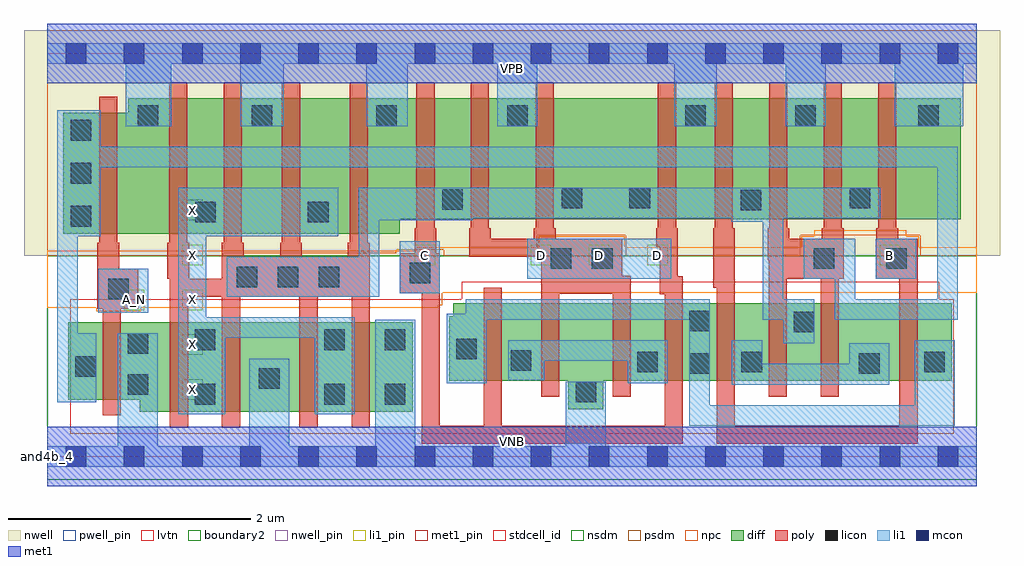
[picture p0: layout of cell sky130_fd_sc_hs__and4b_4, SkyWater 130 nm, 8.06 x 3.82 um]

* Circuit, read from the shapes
.subckt sky130_fd_sc_hs__and4b_4 A_N B C D VGND VNB VPB VPWR X
XM1 VGND A_N n1 VNB sky130_fd_pr__nfet_01v8_lvt w=0.64 l=0.15
XM2 X n2 VGND VNB sky130_fd_pr__nfet_01v8_lvt w=0.74 l=0.15 m=4
XM3 n3 C n4 VNB sky130_fd_pr__nfet_01v8_lvt w=0.64 l=0.15 m=2
XM4 VGND D n3 VNB sky130_fd_pr__nfet_01v8_lvt w=0.64 l=0.15 m=2
XM5 n5 B n4 VNB sky130_fd_pr__nfet_01v8_lvt w=0.64 l=0.15 m=2
XM6 n2 n1 n5 VNB sky130_fd_pr__nfet_01v8_lvt w=0.64 l=0.15 m=2
XM7 VPWR A_N n1 VPB sky130_fd_pr__pfet_01v8 w=1 l=0.15
XM8 X n2 VPWR VPB sky130_fd_pr__pfet_01v8 w=1.12 l=0.15 m=4
XM9 n2 C VPWR VPB sky130_fd_pr__pfet_01v8 w=1 l=0.15 m=2
XM10 VPWR D n2 VPB sky130_fd_pr__pfet_01v8 w=1 l=0.15 m=2
XM11 n2 B VPWR VPB sky130_fd_pr__pfet_01v8 w=1 l=0.15 m=2
XM12 VPWR n1 n2 VPB sky130_fd_pr__pfet_01v8 w=1 l=0.15 m=2
.ends

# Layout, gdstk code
import gdstk
lib = gdstk.Library(unit=1e-6, precision=1e-09)
def R(c, l, rs):  # rectangles x0, y0, x1, y1
    for r in rs: c.add(gdstk.rectangle(r[:2], r[2:], *l))
def A(c, l, x, y, w, h, nx, ny, dx, dy):  # array of equal rectangles
    R(c, l, [(x+i*dx, y+j*dy, x+i*dx+w, y+j*dy+h) for i in range(nx) for j in range(ny)])
def P(c, l, *ps):  # polygons
    for p in ps: c.add(gdstk.Polygon(p, *l))
nwell_pin = (64, 16)
nwell = (64, 20)
diff = (65, 20)
poly = (66, 20)
licon = (66, 44)
li1_pin = (67, 16)
li1 = (67, 20)
mcon = (67, 44)
met1_pin = (68, 16)
met1 = (68, 20)
stdcell_id = (81, 4)
nsdm = (93, 44)
psdm = (94, 20)
npc = (95, 20)
pwell_pin = (122, 16)
lvtn = (125, 44)
boundary2 = (236, 0)

sky130_fd_sc_hs__and4b_4 = lib.new_cell('sky130_fd_sc_hs__and4b_4')
R(sky130_fd_sc_hs__and4b_4, nwell_pin, [(0,3.085,7.68,3.33)])
R(sky130_fd_sc_hs__and4b_4, nwell, [(-0.19,1.66,7.87,3.52)])
P(sky130_fd_sc_hs__and4b_4, diff, [(3.02,1.11),(0.175,1.11),(0.175,0.47),(0.765,0.47),(0.765,0.37),(3.02,0.37)],
  [(7.545,2.96),(0.67,2.96),(0.67,2.84),(0.135,2.84),(0.135,1.84),(2.915,1.84),(2.915,1.96),(7.545,1.96)],
  [(7.47,1.265),(3.355,1.265),(3.355,1.16),(3.32,1.16),(3.32,0.625),(4.305,0.625),(4.305,0.39),(4.595,0.39),(4.595,0.625),(7.47,0.625)])
P(sky130_fd_sc_hs__and4b_4, poly, [(0.755,1.55),(0.595,1.55),(0.595,1.765),(0.58,1.765),(0.58,2.97),(0.43,2.97),(0.43,1.765),(0.415,1.765),(0.415,1.22),(0.46,1.22),(0.46,0.34),(0.61,0.34),(0.61,1.22),(0.755,1.22)],
  [(2.665,1.765),(2.65,1.765),(2.65,3.09),(2.5,3.09),(2.5,1.765),(2.485,1.765),(2.485,1.65),(2.105,1.65),(2.105,1.765),(2.09,1.765),(2.09,3.09),(1.94,3.09),(1.94,1.765),(1.925,1.765),(1.925,1.65),(1.625,1.65),(1.625,1.765),(1.61,1.765),(1.61,3.09),(1.46,3.09),(1.46,1.765),(1.445,1.765),(1.445,1.47),(1.175,1.47),(1.175,1.765),(1.16,1.765),(1.16,3.09),(1.01,3.09),(1.01,1.765),(0.995,1.765),(0.995,1.47),(1.015,1.47),(1.015,0.24),(1.165,0.24),(1.165,1.32),(1.445,1.32),(1.445,0.24),(1.595,0.24),(1.595,1.32),(2.085,1.32),(2.085,0.24),(2.235,0.24),(2.235,1.32),(2.515,1.32),(2.515,0.24),(2.665,0.24)],
  [(7.19,1.8),(7.03,1.8),(7.03,1.885),(7.015,1.885),(7.015,3.09),(6.865,3.09),(6.865,1.885),(6.85,1.885),(6.85,1.47),(7.04,1.47),(7.04,0.255),(5.68,0.255),(5.68,1.885),(5.665,1.885),(5.665,3.09),(5.515,3.09),(5.515,1.885),(5.5,1.885),(5.5,1.395),(5.53,1.395),(5.53,0.105),(7.19,0.105)],
  [(6.58,1.885),(6.565,1.885),(6.565,3.09),(6.415,3.09),(6.415,1.885),(6.4,1.885),(6.4,1.8),(6.13,1.8),(6.13,1.885),(6.115,1.885),(6.115,3.09),(5.965,3.09),(5.965,1.885),(5.95,1.885),(5.95,1.62),(5.96,1.62),(5.96,0.495),(6.11,0.495),(6.11,1.47),(6.39,1.47),(6.39,0.495),(6.54,0.495),(6.54,1.47),(6.58,1.47)],
  [(5.25,1.49),(5.21,1.49),(5.21,1.885),(5.195,1.885),(5.195,3.09),(5.045,3.09),(5.045,1.885),(5.03,1.885),(5.03,1.735),(5.06,1.735),(5.06,1.34),(5.1,1.34),(5.1,0.255),(3.755,0.255),(3.755,1.395),(3.605,1.395),(3.605,0.255),(3.245,0.255),(3.245,1.68),(3.215,1.68),(3.215,1.885),(3.2,1.885),(3.2,3.09),(3.05,3.09),(3.05,1.885),(3.035,1.885),(3.035,1.68),(2.915,1.68),(2.915,1.35),(3.095,1.35),(3.095,0.105),(5.25,0.105)],
  [(4.82,1.495),(4.75,1.495),(4.75,1.8),(4.2,1.8),(4.2,1.885),(4.185,1.885),(4.185,3.09),(4.035,3.09),(4.035,1.885),(4.02,1.885),(4.02,1.8),(3.665,1.8),(3.665,1.885),(3.65,1.885),(3.65,3.09),(3.5,3.09),(3.5,1.885),(3.485,1.885),(3.485,1.65),(4.08,1.65),(4.08,0.495),(4.23,0.495),(4.23,1.345),(4.67,1.345),(4.67,0.495),(4.82,0.495)])
A(sky130_fd_sc_hs__and4b_4, licon, 1.565, 1.4, 0.17, 0.17, 3, 1, 0.34, 0)
A(sky130_fd_sc_hs__and4b_4, licon, 0.195, 1.9, 0.17, 0.17, 1, 3, 0, 0.355)
R(sky130_fd_sc_hs__and4b_4, licon, [(1.22,0.43,1.39,0.6), (2.29,0.43,2.46,0.6), (2.79,0.43,2.96,0.6), (4.365,0.45,4.535,0.62), (0.665,0.51,0.835,0.68), (1.75,0.56,1.92,0.73), (0.235,0.66,0.405,0.83), (5.305,0.685,5.475,0.855), (6.705,0.685,6.875,0.855), (4.875,0.695,5.045,0.865), (5.735,0.695,5.905,0.865), (7.245,0.695,7.415,0.865), (3.83,0.71,4,0.88), (3.38,0.805,3.55,0.975), (0.665,0.85,0.835,1.02), (1.22,0.88,1.39,1.05), (2.29,0.88,2.46,1.05), (2.79,0.88,2.96,1.05), (6.165,1.025,6.335,1.195), (5.305,1.035,5.475,1.205), (0.505,1.3,0.675,1.47), (2.995,1.43,3.165,1.6), (4.16,1.55,4.33,1.72), (4.5,1.55,4.67,1.72), (6.33,1.55,6.5,1.72), (6.93,1.55,7.1,1.72), (1.225,1.935,1.395,2.105), (2.155,1.935,2.325,2.105), (5.73,2.035,5.9,2.205), (3.265,2.04,3.435,2.21), (4.25,2.05,4.42,2.22), (4.81,2.05,4.98,2.22), (6.63,2.05,6.8,2.22), (0.75,2.73,0.92,2.9), (1.69,2.73,1.86,2.9), (2.72,2.73,2.89,2.9), (3.8,2.73,3.97,2.9), (5.27,2.73,5.44,2.9), (6.18,2.73,6.35,2.9), (7.195,2.73,7.365,2.9)])
A(sky130_fd_sc_hs__and4b_4, li1_pin, 1.115, 0.47, 0.17, 0.17, 1, 5, 0, 0.37)
A(sky130_fd_sc_hs__and4b_4, li1_pin, 3.995, 1.58, 0.17, 0.17, 3, 1, 0.48, 0)
R(sky130_fd_sc_hs__and4b_4, li1_pin, [(0.635,1.21,0.805,1.38), (3.035,1.58,3.205,1.75), (6.875,1.58,7.045,1.75)])
R(sky130_fd_sc_hs__and4b_4, li1, [(0.425,1.19,0.835,1.55), (2.915,1.35,3.245,1.78), (3.965,1.47,5.155,1.8), (6.845,1.47,7.18,1.8)])
P(sky130_fd_sc_hs__and4b_4, li1, [(3.72,2.73),(3.72,3.245),(2.98,3.245),(2.98,2.73),(2.635,2.73),(2.635,3.245),(1.955,3.245),(1.955,2.73),(1.595,2.73),(1.595,3.245),(1.025,3.245),(1.025,2.73),(0.65,2.73),(0.65,3.245),(0,3.245),(0,3.415),(7.68,3.415),(7.68,3.245),(7.565,3.245),(7.565,2.73),(7,2.73),(7,3.245),(6.43,3.245),(6.43,2.73),(6.1,2.73),(6.1,3.245),(5.53,3.245),(5.53,2.73),(5.18,2.73),(5.18,3.245),(4.05,3.245),(4.05,2.73)],
  [(4.285,0.085),(4.285,0.62),(4.615,0.62),(4.615,0.085),(7.68,0.085),(7.68,-0.085),(0,-0.085),(0,0.085),(0.585,0.085),(0.585,1.02),(0.915,1.02),(0.915,0.085),(1.67,0.085),(1.67,0.81),(2,0.81),(2,0.085),(2.71,0.085),(2.71,1.13),(3.04,1.13),(3.04,0.085)],
  [(6.505,1.13),(6.505,1.47),(6.25,1.47),(6.25,1.8),(6.675,1.8),(6.675,1.3),(7.35,1.3),(7.35,2.39),(0.445,2.39),(0.445,1.82),(0.255,1.82),(0.255,1.02),(0.405,1.02),(0.405,0.45),(0.085,0.45),(0.085,2.86),(0.445,2.86),(0.445,2.56),(7.52,2.56),(7.52,1.13)],
  [(6.88,2.22),(6.88,1.97),(6.08,1.97),(6.08,1.3),(6.335,1.3),(6.335,0.935),(6.08,0.935),(6.08,1.13),(5.91,1.13),(5.91,1.94),(5.65,1.94),(5.65,1.97),(3.515,1.97),(3.515,1.95),(2.745,1.95),(2.745,1.32),(1.485,1.32),(1.485,1.65),(2.575,1.65),(2.575,2.22)],
  [(4.795,0.605),(4.795,0.79),(4.105,0.79),(4.105,0.63),(3.81,0.63),(3.81,0.96),(5.125,0.96),(5.125,0.605)],
  [(5.475,1.3),(5.475,0.425),(7.165,0.425),(7.165,0.96),(7.495,0.96),(7.495,0.255),(5.305,0.255),(5.305,1.13),(3.63,1.13),(3.63,0.605),(3.3,0.605),(3.3,1.18),(3.46,1.18),(3.46,1.3)],
  [(5.655,0.595),(5.655,0.96),(5.905,0.96),(5.905,0.765),(6.625,0.765),(6.625,0.935),(6.955,0.935),(6.955,0.595)],
  [(1.085,2.22),(2.405,2.22),(2.405,1.82),(1.315,1.82),(1.315,1.15),(2.54,1.15),(2.54,0.35),(2.21,0.35),(2.21,0.98),(1.47,0.98),(1.47,0.35),(1.085,0.35)])
A(sky130_fd_sc_hs__and4b_4, mcon, 0.155, -0.085, 0.17, 0.17, 16, 2, 0.48, 3.33)
R(sky130_fd_sc_hs__and4b_4, met1_pin, [(0,0,7.68,0.245), (0,3.085,7.68,3.33)])
R(sky130_fd_sc_hs__and4b_4, met1, [(0,-0.245,7.68,0.245), (0,3.085,7.68,3.575)])
R(sky130_fd_sc_hs__and4b_4, stdcell_id, [(0,0,7.68,3.33)])
R(sky130_fd_sc_hs__and4b_4, nsdm, [(0,-0.19,7.68,1.66)])
P(sky130_fd_sc_hs__and4b_4, psdm, [(7.68,3.52),(0,3.52),(0,1.66),(1.455,1.66),(1.455,1.68),(2.885,1.68),(2.885,1.71),(3.275,1.71),(3.275,1.66),(4.05,1.66),(4.05,1.83),(4.78,1.83),(4.78,1.66),(6.22,1.66),(6.22,1.83),(7.21,1.83),(7.21,1.66),(7.68,1.66)])
P(sky130_fd_sc_hs__and4b_4, npc, [(7.68,1.73),(7.2,1.73),(7.2,1.82),(7.095,1.82),(7.095,1.87),(6.335,1.87),(6.335,1.82),(6.23,1.82),(6.23,1.73),(4.77,1.73),(4.77,1.82),(4.06,1.82),(4.06,1.73),(3.055,1.73),(3.055,1.7),(0,1.7),(0,1.23),(0.405,1.23),(0.405,1.2),(0.775,1.2),(0.775,1.23),(3.23,1.23),(3.23,1.25),(3.265,1.25),(3.265,1.355),(7.68,1.355)])
R(sky130_fd_sc_hs__and4b_4, pwell_pin, [(0,0,7.68,0.245)])
P(sky130_fd_sc_hs__and4b_4, lvtn, [(7.49,1.3),(7.37,1.3),(7.37,1.445),(3.425,1.445),(3.425,1.3),(0.19,1.3),(0.19,0.19),(7.49,0.19)])
R(sky130_fd_sc_hs__and4b_4, boundary2, [(0,0,7.68,3.33)])
sky130_fd_sc_hs__and4b_4.add(gdstk.Label('and4b_4', (0,0), layer=83, texttype=44))
sky130_fd_sc_hs__and4b_4.add(gdstk.Label('VNB', (3.84,0.123), layer=64, texttype=59))
sky130_fd_sc_hs__and4b_4.add(gdstk.Label('VPB', (3.84,3.208), layer=64, texttype=5))
sky130_fd_sc_hs__and4b_4.add(gdstk.Label('VPWR', (3.84,3.208), layer=68, texttype=5))
sky130_fd_sc_hs__and4b_4.add(gdstk.Label('VGND', (3.84,0.123), layer=68, texttype=5))
sky130_fd_sc_hs__and4b_4.add(gdstk.Label('A_N', (0.72,1.295), layer=67, texttype=5))
sky130_fd_sc_hs__and4b_4.add(gdstk.Label('D', (4.08,1.665), layer=67, texttype=5))
sky130_fd_sc_hs__and4b_4.add(gdstk.Label('D', (4.56,1.665), layer=67, texttype=5))
sky130_fd_sc_hs__and4b_4.add(gdstk.Label('D', (5.04,1.665), layer=67, texttype=5))
sky130_fd_sc_hs__and4b_4.add(gdstk.Label('C', (3.12,1.665), layer=67, texttype=5))
sky130_fd_sc_hs__and4b_4.add(gdstk.Label('B', (6.96,1.665), layer=67, texttype=5))
sky130_fd_sc_hs__and4b_4.add(gdstk.Label('X', (1.2,0.555), layer=67, texttype=5))
sky130_fd_sc_hs__and4b_4.add(gdstk.Label('X', (1.2,0.925), layer=67, texttype=5))
sky130_fd_sc_hs__and4b_4.add(gdstk.Label('X', (1.2,1.295), layer=67, texttype=5))
sky130_fd_sc_hs__and4b_4.add(gdstk.Label('X', (1.2,1.665), layer=67, texttype=5))
sky130_fd_sc_hs__and4b_4.add(gdstk.Label('X', (1.2,2.035), layer=67, texttype=5))

lib.write_gds('sky130_fd_sc_hs__and4b_4.gds')
